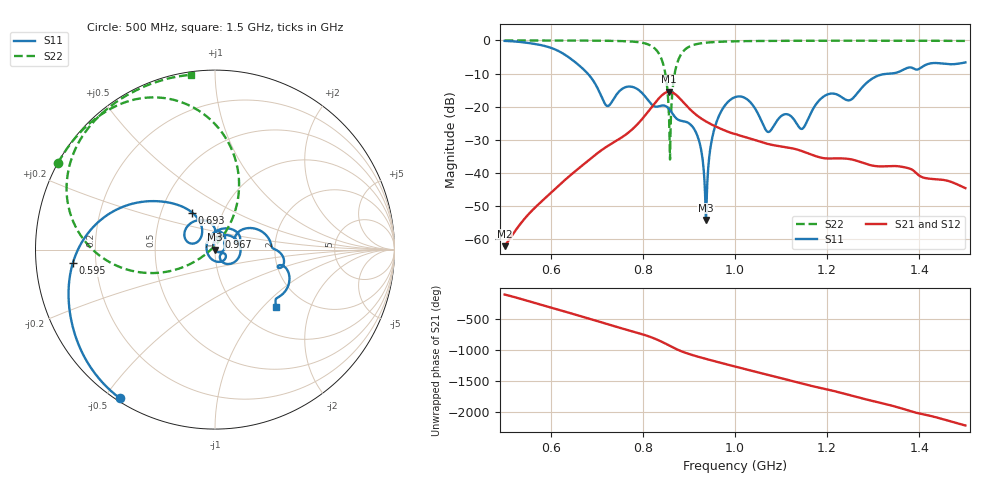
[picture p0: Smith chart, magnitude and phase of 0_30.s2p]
! TOUCHSTONE file generated by CST MICROWAVE STUDIO
! Date and time: Mon Sep 28 14:12:54 2020
! Project name: Scenario_1_Free_SPace.cst
! Parameters = {dx1=675.5; L_HA=400; MT=2.54; Rad_Dielectric=30; Rad_Lower=7.3; Rad_Upper=30; a_HA=580; a_WG=246; b_HA=500; b_WG=121; c_HA=0; c_WG=187; d_feed=85; h_feed=15; h_lower=18; h_upper=40}
! Header version: 2018
! Port assignment regex: !\s*Touchstone port\s*([0-9]+)\s*=\s*(CST MWS port|CST DS port)\s*([0-9]+|Zmin|Zmax)\s*\(\"(.*)\"\)(\s*mode\s*([0-9]+))?.*
! Touchstone port assignment:
! Touchstone port 1 = CST MWS port 1 ("")
! Touchstone port 2 = CST MWS port 2 ("")
# GHz S DB R 50
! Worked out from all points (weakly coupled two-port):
!   1003 points, 500 MHz to 1.5 GHz, reference 50 ohm
!   highest |S21| = -15.50 dB at 857 MHz (marker M1); lowest = -62.2 dB at 500 MHz (marker M2)
!   lowest |S11| = -54.3 dB at 937 MHz (marker M3), VSWR 1.00, Z = 49.8 - j0.107 ohm
!   |S11| at or under -10 dB: 680.2 MHz to 1.339 GHz (658.6 MHz wide, 65.2 % of centre)
!   |S22| runs from -36.0 to 0.0 dB; largest |S21 - S12| = 0.00013
!   S11 on the Smith chart (normalised r, x): 500 MHz: 0.01, -0.55; 595 MHz: 0.11, -0.05; 693 MHz: 0.72, +0.31; 967 MHz: 1.04, +0.15; 1.5 GHz: 1.45, -1.18
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0.5  -0.15 -122.6  -62.21 -106.2  -62.20 -106.2  -0.01 151.1
0.595  -1.98 -174.5  -46.77 55.4  -46.77 55.4  -0.02 144.5
0.667  -8.19 136.8  -37.98 -97.9  -37.98 -97.9  -0.04 138.3
0.693  -12.31 121.7  -35.03 -154.6  -35.03 -154.6  -0.07 135.6
0.722  -19.78 141.7  -32.07 140.0  -32.07 140.0  -0.11 132.0
0.771  -13.93 138.5  -27.60 35.6  -27.60 35.6  -0.30 122.8
0.834  -19.95 86.6  -17.63 -121.2  -17.63 -121.2  -3.79 86.1
0.848  -19.76 69.0  -15.90 -170.8  -15.90 -170.8  -9.43 67.0
0.857  -20.74 53.7  -15.50 154.8  -15.50 154.8  -23.92 62.5
0.881  -24.22 34.6  -17.66 69.4  -17.66 69.4  -4.66 -172.7
0.918  -28.69 -20.9  -22.73 -22.4  -22.73 -22.4  -1.07 159.1
0.937  -54.31 -146.3  -24.50 -61.5  -24.50 -61.5  -0.68 152.4
0.95  -29.81 105.4  -25.47 -87.4  -25.47 -87.4  -0.53 149.0
0.967  -22.26 71.8  -26.58 -120.9  -26.58 -120.9  -0.40 145.5
1  -17.15 11.4  -28.28 175.7  -28.28 175.7  -0.26 140.2
1.032  -18.50 -41.0  -29.62 114.8  -29.62 114.8  -0.19 136.3
1.072  -27.67 -40.3  -31.32 40.0  -31.32 40.0  -0.14 132.2
1.11  -22.28 -47.8  -32.24 -30.0  -32.24 -30.0  -0.12 128.8
1.146  -26.71 -173.9  -33.49 -99.9  -33.49 -99.9  -0.10 125.9
1.167  -21.31 101.6  -34.59 -138.2  -34.59 -138.2  -0.09 124.2
1.334  -10.05 4.5  -37.99 -80.6  -37.99 -80.6  -0.09 111.4
1.5  -6.65 -43.5  -44.65 -52.1  -44.65 -52.1  -0.14 97.9
